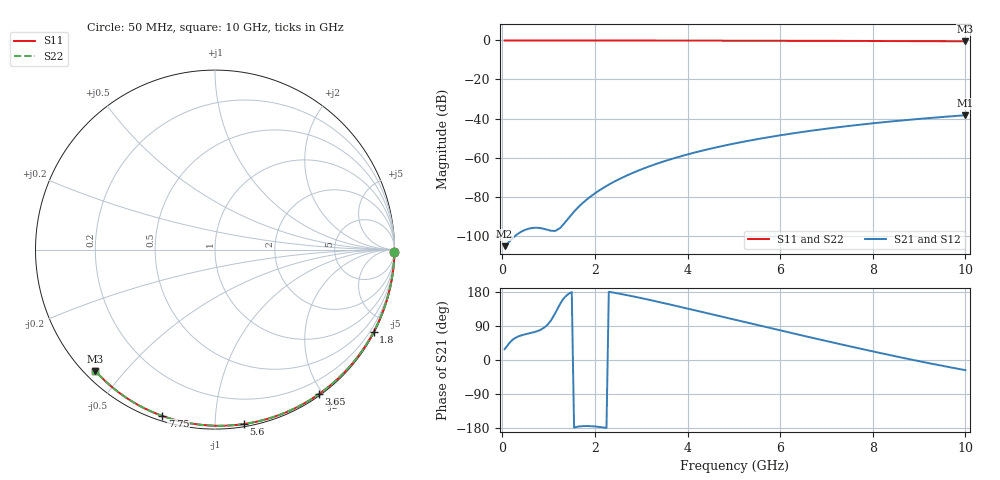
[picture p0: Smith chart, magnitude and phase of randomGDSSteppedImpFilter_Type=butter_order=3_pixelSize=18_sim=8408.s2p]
! freq	dB(S11)	phase(S11)	dB(S12)	phase(S12)
!  dB(S21)	phase(S21)	dB(S22)	phase(S22)
!S-par simulation data
#  GHz  S  DB  R 50
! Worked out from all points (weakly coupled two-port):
!   200 points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, 50 MHz to 10 GHz, reference 50 ohm
!   highest |S21| = -38.31 dB at 10 GHz (marker M1); lowest = -105.4 dB at 50 MHz (marker M2)
!   lowest |S11| = -0.5 dB at 10 GHz (marker M3), VSWR 38.32, Z = 1.53 - j20.9 ohm
!   |S11| at or under -10 dB: nowhere
!   |S22| runs from -0.5 to 0.0 dB; largest |S21 - S12| = 0
!   S11 on the Smith chart (normalised r, x): 50 MHz: open; 1.8 GHz: 0.04, -4.10; 3.65 GHz: 0.02, -1.95; 5.6 GHz: 0.02, -1.18; 7.75 GHz: 0.02, -0.73; 10 GHz: 0.03, -0.42
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0.05  -0.00 -0.8  -105.39 28.6  -105.39 28.6  -0.00 -0.8
0.45  -0.01 -7.0  -97.49 66.4  -97.49 66.4  -0.01 -7.0
0.9  -0.02 -13.8  -96.53 85.2  -96.53 85.2  -0.02 -13.8
1.75  -0.03 -26.7  -82.99 -174.4  -82.99 -174.4  -0.03 -26.7
1.8  -0.03 -27.4  -81.97 -174.3  -81.97 -174.3  -0.03 -27.4
1.9  -0.04 -28.9  -80.07 -174.5  -80.07 -174.5  -0.04 -28.9
2.05  -0.04 -31.1  -77.51 -176.0  -77.51 -176.0  -0.04 -31.1
2.25  -0.04 -34.1  -74.53 -179.2  -74.53 -179.2  -0.04 -34.1
2.45  -0.05 -37.0  -71.92 176.8  -71.92 176.8  -0.05 -37.0
2.65  -0.05 -40.0  -69.60 172.2  -69.60 172.2  -0.05 -40.0
3  -0.06 -45.0  -66.07 163.4  -66.07 163.4  -0.06 -45.0
3.4  -0.07 -50.7  -62.64 152.6  -62.64 152.6  -0.07 -50.7
3.65  -0.07 -54.3  -60.76 145.6  -60.76 145.6  -0.07 -54.3
4.3  -0.09 -63.3  -56.55 127.1  -56.55 127.1  -0.09 -63.3
5.05  -0.11 -73.5  -52.61 105.4  -52.61 105.4  -0.11 -73.5
5.6  -0.13 -80.7  -50.18 89.6  -50.18 89.6  -0.13 -80.7
6.15  -0.15 -87.8  -48.04 73.9  -48.04 73.9  -0.15 -87.8
6.7  -0.18 -94.7  -46.15 58.4  -46.15 58.4  -0.18 -94.7
7.75  -0.25 -107.6  -43.08 29.4  -43.08 29.4  -0.25 -107.6
8.35  -0.29 -114.8  -41.60 13.4  -41.60 13.4  -0.29 -114.8
9.15  -0.36 -124.4  -39.89 -6.8  -39.89 -6.8  -0.36 -124.4
10  -0.45 -134.6  -38.31 -26.8  -38.31 -26.8  -0.45 -134.6
